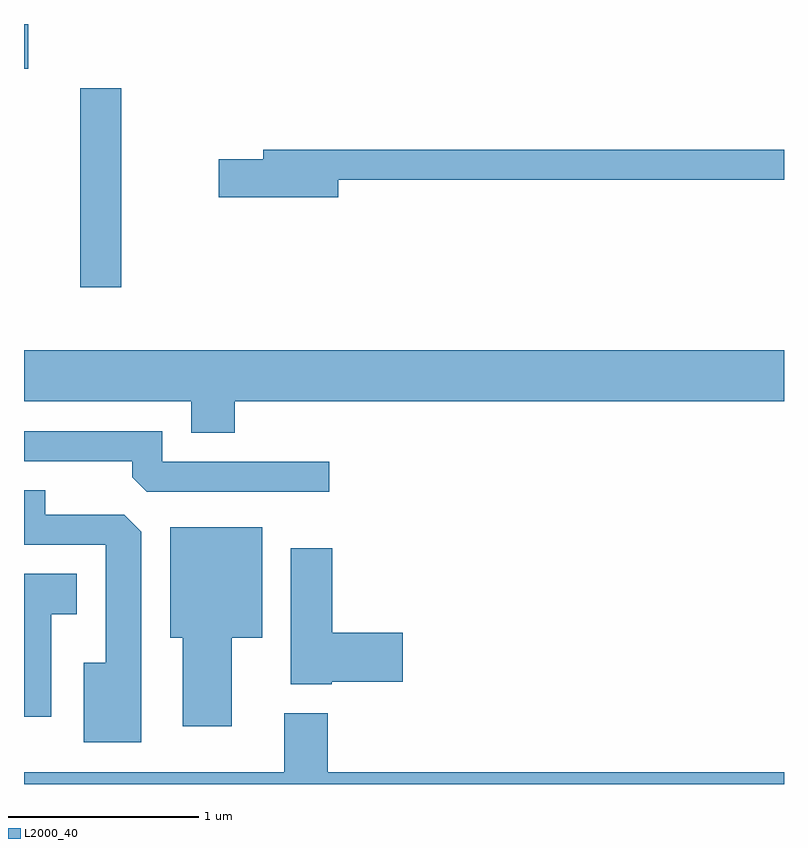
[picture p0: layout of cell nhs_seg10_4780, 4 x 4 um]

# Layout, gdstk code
import gdstk
lib = gdstk.Library(unit=1e-6, precision=1e-09)
def R(c, l, rs):  # rectangles x0, y0, x1, y1
    for r in rs: c.add(gdstk.rectangle(r[:2], r[2:], *l))
def P(c, l, *ps):  # polygons
    for p in ps: c.add(gdstk.Polygon(p, *l))
L2000_40 = (2000, 40)

nhs_seg10_4780 = lib.new_cell('nhs_seg10_4780')
R(nhs_seg10_4780, L2000_40, [(325.906,2161.136,326.124,2162.184), (325.611,2162.286,325.634,2162.522)])
P(nhs_seg10_4780, L2000_40, [(327.264,2161.701),(329.611,2161.701),(329.611,2161.859),(326.871,2161.859),(326.871,2161.809),(326.636,2161.809),(326.636,2161.611),(327.264,2161.611)],
  [(326.719,2160.536),(329.611,2160.536),(329.611,2160.804),(325.611,2160.804),(325.611,2160.536),(326.491,2160.536),(326.491,2160.371),(326.719,2160.371)],
  [(327.218,2160.219),(326.339,2160.219),(326.339,2160.379),(325.611,2160.379),(325.611,2160.221),(326.181,2160.221),(326.181,2160.137),(326.257,2160.061),(327.218,2160.061)],
  [(326.229,2159.849),(326.139,2159.939),(325.724,2159.939),(325.724,2160.069),(325.611,2160.069),(325.611,2159.781),(326.041,2159.781),(326.041,2159.159),(325.926,2159.159),(325.926,2158.741),(326.229,2158.741)],
  [(326.704,2159.291),(326.864,2159.291),(326.864,2159.874),(326.381,2159.874),(326.381,2159.291),(326.446,2159.291),(326.446,2158.826),(326.704,2158.826)],
  [(327.23,2159.061),(327.604,2159.061),(327.604,2159.319),(327.234,2159.319),(327.234,2159.764),(327.016,2159.764),(327.016,2159.046),(327.23,2159.046)],
  [(325.754,2159.416),(325.889,2159.416),(325.889,2159.629),(325.611,2159.629),(325.611,2158.876),(325.754,2158.876)],
  [(329.611,2158.584),(327.209,2158.584),(327.209,2158.894),(326.981,2158.894),(326.981,2158.584),(325.611,2158.584),(325.611,2158.522),(329.611,2158.522)])

lib.write_gds('nhs_seg10_4780.gds')
